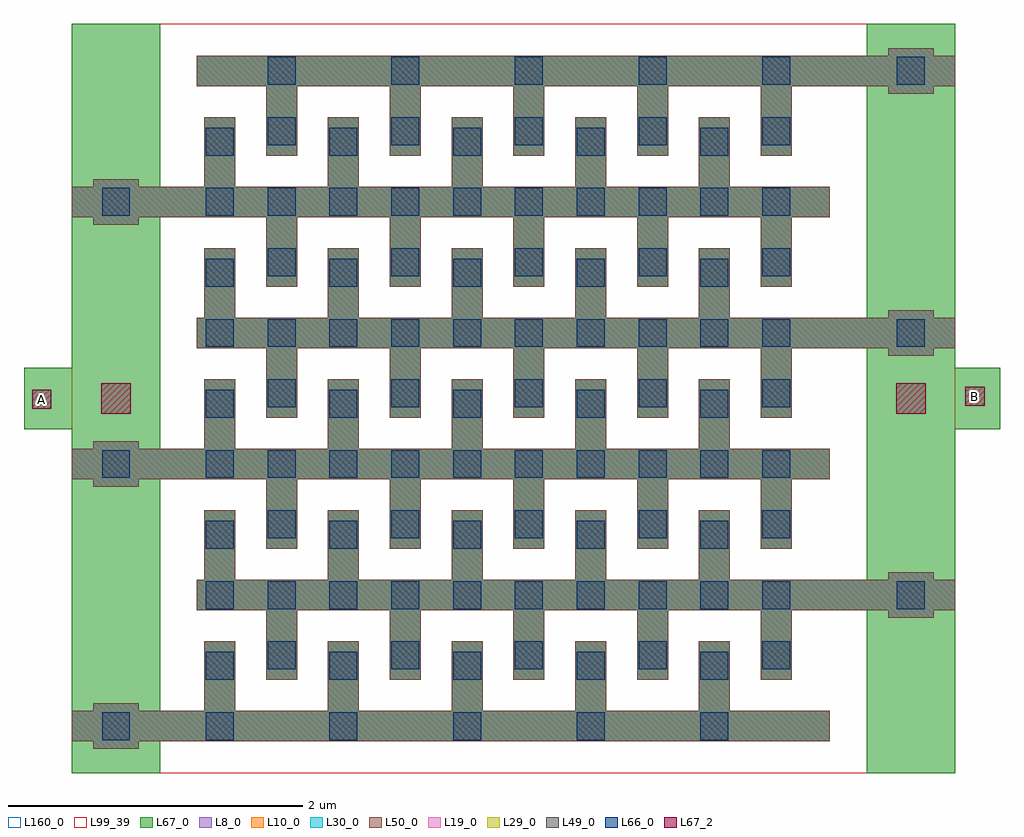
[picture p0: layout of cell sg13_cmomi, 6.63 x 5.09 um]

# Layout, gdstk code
import gdstk
lib = gdstk.Library(unit=1e-6, precision=1e-09)
def R(c, l, rs):  # rectangles x0, y0, x1, y1
    for r in rs: c.add(gdstk.rectangle(r[:2], r[2:], *l))
def A(c, l, x, y, w, h, nx, ny, dx, dy):  # array of equal rectangles
    R(c, l, [(x+i*dx, y+j*dy, x+i*dx+w, y+j*dy+h) for i in range(nx) for j in range(ny)])
L8_0 = (8, 0)
L10_0 = (10, 0)
L19_0 = (19, 0)
L29_0 = (29, 0)
L30_0 = (30, 0)
L49_0 = (49, 0)
L50_0 = (50, 0)
L66_0 = (66, 0)
L67_0 = (67, 0)
L67_2 = (67, 2)
L99_39 = (99, 39)
L160_0 = (160, 0)

cmomi = lib.new_cell('cmomi')
A(cmomi, L8_0, -2.855, -2.38, 0.31, 0.31, 1, 3, 0, 1.78)
A(cmomi, L8_0, -3, -2.33, 5.15, 0.21, 1, 3, 0, 1.78)
A(cmomi, L8_0, -2.1, -2.225, 0.21, 0.575, 5, 5, 0.84, 0.89)
A(cmomi, L8_0, -1.68, -1.91, 0.21, 0.575, 5, 5, 0.84, 0.89)
A(cmomi, L8_0, 2.545, -1.49, 0.31, 0.31, 1, 3, 0, 1.78)
A(cmomi, L8_0, -2.15, -1.44, 5.15, 0.21, 1, 3, 0, 1.78)
A(cmomi, L10_0, -2.855, -2.38, 0.31, 0.31, 1, 3, 0, 1.78)
A(cmomi, L10_0, -3, -2.33, 5.15, 0.21, 1, 3, 0, 1.78)
A(cmomi, L10_0, -2.1, -2.225, 0.21, 0.575, 5, 5, 0.84, 0.89)
A(cmomi, L10_0, -1.68, -1.91, 0.21, 0.575, 5, 5, 0.84, 0.89)
A(cmomi, L10_0, 2.545, -1.49, 0.31, 0.31, 1, 3, 0, 1.78)
A(cmomi, L10_0, -2.15, -1.44, 5.15, 0.21, 1, 3, 0, 1.78)
A(cmomi, L19_0, -2.795, -2.32, 0.19, 0.19, 1, 3, 0, 1.78)
A(cmomi, L19_0, -2.09, -2.32, 0.19, 0.19, 5, 2, 0.84, 0.41)
A(cmomi, L19_0, -1.67, -1.84, 0.19, 0.19, 5, 5, 0.84, 0.89)
A(cmomi, L19_0, -2.09, -1.43, 0.19, 0.19, 10, 4, 0.42, 0.89)
A(cmomi, L19_0, 2.605, -1.43, 0.19, 0.19, 1, 3, 0, 1.78)
A(cmomi, L19_0, -2.09, -1.02, 0.19, 0.19, 5, 4, 0.84, 0.89)
A(cmomi, L19_0, -1.67, 2.13, 0.19, 0.19, 5, 1, 0.84, 0)
A(cmomi, L29_0, -2.795, -2.32, 0.19, 0.19, 1, 3, 0, 1.78)
A(cmomi, L29_0, -2.09, -2.32, 0.19, 0.19, 5, 2, 0.84, 0.41)
A(cmomi, L29_0, -1.67, -1.84, 0.19, 0.19, 5, 5, 0.84, 0.89)
A(cmomi, L29_0, -2.09, -1.43, 0.19, 0.19, 10, 4, 0.42, 0.89)
A(cmomi, L29_0, 2.605, -1.43, 0.19, 0.19, 1, 3, 0, 1.78)
A(cmomi, L29_0, -2.09, -1.02, 0.19, 0.19, 5, 4, 0.84, 0.89)
A(cmomi, L29_0, -1.67, 2.13, 0.19, 0.19, 5, 1, 0.84, 0)
A(cmomi, L30_0, -2.855, -2.38, 0.31, 0.31, 1, 3, 0, 1.78)
A(cmomi, L30_0, -3, -2.33, 5.15, 0.21, 1, 3, 0, 1.78)
A(cmomi, L30_0, -2.1, -2.225, 0.21, 0.575, 5, 5, 0.84, 0.89)
A(cmomi, L30_0, -1.68, -1.91, 0.21, 0.575, 5, 5, 0.84, 0.89)
A(cmomi, L30_0, 2.545, -1.49, 0.31, 0.31, 1, 3, 0, 1.78)
A(cmomi, L30_0, -2.15, -1.44, 5.15, 0.21, 1, 3, 0, 1.78)
A(cmomi, L49_0, -2.795, -2.32, 0.19, 0.19, 1, 3, 0, 1.78)
A(cmomi, L49_0, -2.09, -2.32, 0.19, 0.19, 5, 2, 0.84, 0.41)
A(cmomi, L49_0, -1.67, -1.84, 0.19, 0.19, 5, 5, 0.84, 0.89)
A(cmomi, L49_0, -2.09, -1.43, 0.19, 0.19, 10, 4, 0.42, 0.89)
A(cmomi, L49_0, 2.605, -1.43, 0.19, 0.19, 1, 3, 0, 1.78)
A(cmomi, L49_0, -2.09, -1.02, 0.19, 0.19, 5, 4, 0.84, 0.89)
A(cmomi, L49_0, -1.67, 2.13, 0.19, 0.19, 5, 1, 0.84, 0)
A(cmomi, L50_0, -2.855, -2.38, 0.31, 0.31, 1, 3, 0, 1.78)
A(cmomi, L50_0, -3, -2.33, 5.15, 0.21, 1, 3, 0, 1.78)
A(cmomi, L50_0, -2.1, -2.225, 0.21, 0.575, 5, 5, 0.84, 0.89)
A(cmomi, L50_0, -1.68, -1.91, 0.21, 0.575, 5, 5, 0.84, 0.89)
A(cmomi, L50_0, 2.545, -1.49, 0.31, 0.31, 1, 3, 0, 1.78)
A(cmomi, L50_0, -2.15, -1.44, 5.15, 0.21, 1, 3, 0, 1.78)
A(cmomi, L66_0, -2.795, -2.32, 0.19, 0.19, 1, 3, 0, 1.78)
A(cmomi, L66_0, -2.09, -2.32, 0.19, 0.19, 5, 2, 0.84, 0.41)
A(cmomi, L66_0, -1.67, -1.84, 0.19, 0.19, 5, 5, 0.84, 0.89)
A(cmomi, L66_0, -2.09, -1.43, 0.19, 0.19, 10, 4, 0.42, 0.89)
A(cmomi, L66_0, 2.605, -1.43, 0.19, 0.19, 1, 3, 0, 1.78)
A(cmomi, L66_0, -2.09, -1.02, 0.19, 0.19, 5, 4, 0.84, 0.89)
A(cmomi, L66_0, -1.67, 2.13, 0.19, 0.19, 5, 1, 0.84, 0)
A(cmomi, L67_0, -3, -2.33, 5.15, 0.21, 1, 3, 0, 1.78)
A(cmomi, L67_0, -2.1, -2.225, 0.21, 0.575, 5, 5, 0.84, 0.89)
A(cmomi, L67_0, -1.68, -1.91, 0.21, 0.575, 5, 5, 0.84, 0.89)
A(cmomi, L67_0, -2.15, -1.44, 5.15, 0.21, 1, 3, 0, 1.78)
R(cmomi, L67_0, [(-3,-2.545,-2.4,2.545), (2.4,-2.545,3,2.545)])
R(cmomi, L67_2, [(-2.8,-0.105,-2.6,0.105), (2.6,-0.105,2.8,0.105)])
R(cmomi, L99_39, [(-3,-2.545,3,2.545)])
R(cmomi, L160_0, [(-3,-2.545,3,2.545)])
cmomi.add(gdstk.Label('C=26.159fF', (0,0), layer=63, texttype=0))
cmomi.add(gdstk.Label('cap_cmomi', (0,0), layer=63, texttype=0))

sg13_cmomi = lib.new_cell('sg13_cmomi')
R(sg13_cmomi, L67_2, [(-0.935,1.665,-0.805,1.795), (5.405,1.685,5.535,1.815)])
sg13_cmomi.add(gdstk.FlexPath([(5.335,1.735),(5.64,1.735)], 0.42, ends="flush", simple_path=True, layer=67, datatype=0))  # L67_0
sg13_cmomi.add(gdstk.FlexPath([(-0.665,1.735),(-0.99,1.735)], 0.42, ends="flush", simple_path=True, layer=67, datatype=0))  # L67_0
sg13_cmomi.add(gdstk.Reference(cmomi, (2.335,1.735)))
sg13_cmomi.add(gdstk.Label('B', (5.47,1.75), layer=67, texttype=25))
sg13_cmomi.add(gdstk.Label('A', (-0.87,1.73), layer=67, texttype=25))

lib.write_gds('sg13_cmomi.gds')
